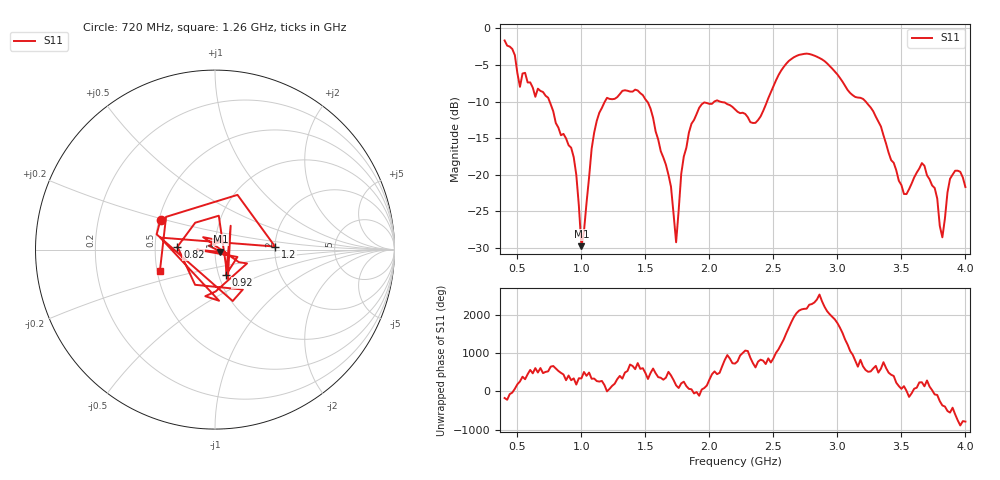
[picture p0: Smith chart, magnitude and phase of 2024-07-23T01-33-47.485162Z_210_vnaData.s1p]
!Created with skrf (http://scikit-rf.org).
# Hz S RI R 50.0
!freq ReS11 ImS11
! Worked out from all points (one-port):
!   181 points, 400 MHz to 4 GHz, reference 50 ohm
!   lowest |S11| = -29.8 dB at 1 GHz (marker M1), VSWR 1.07, Z = 53.1 - j1.15 ohm
!   |S11| at or under -10 dB: 751.7 MHz to 1.184 GHz (431.8 MHz wide, 44.6 % of centre); 1.514 GHz to 2.039 GHz (525.1 MHz wide, 29.6 % of centre); 3.221 GHz to end of sweep (the widest 3 of 4)
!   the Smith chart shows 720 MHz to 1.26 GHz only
!   S11 on the Smith chart (normalised r, x): 720 MHz: 0.51, +0.19; 820 MHz: 0.65, +0.02; 920 MHz: 1.08, -0.31; 1.2 GHz: 2.00, +0.08; 1.26 GHz: 0.52, -0.14
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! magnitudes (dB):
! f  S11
! 400 MHz  -1.6
! 520 MHz  -8.0
! 720 MHz  -9.2
! 820 MHz  -13.6
! 860 MHz  -14.4
! 920 MHz  -16.3
! 960 MHz  -20.0
! 1 GHz  -29.8
! 1.1 GHz  -14.2
! 1.2 GHz  -9.5
! 1.26 GHz  -9.6
! 1.3 GHz  -9.0
! 1.52 GHz  -10.1
! 1.7 GHz  -21.7
! 1.74 GHz  -29.3
! 1.76 GHz  -24.9
! 1.8 GHz  -17.5
! 1.92 GHz  -10.9
! 2.2 GHz  -11.1
! 2.36 GHz  -12.9
! 2.66 GHz  -3.9
! 3.1 GHz  -8.8
! 3.28 GHz  -11.3
! 3.56 GHz  -22.0
! 3.68 GHz  -18.8
! 3.82 GHz  -28.6
! 3.88 GHz  -20.6
! 4 GHz  -21.7
